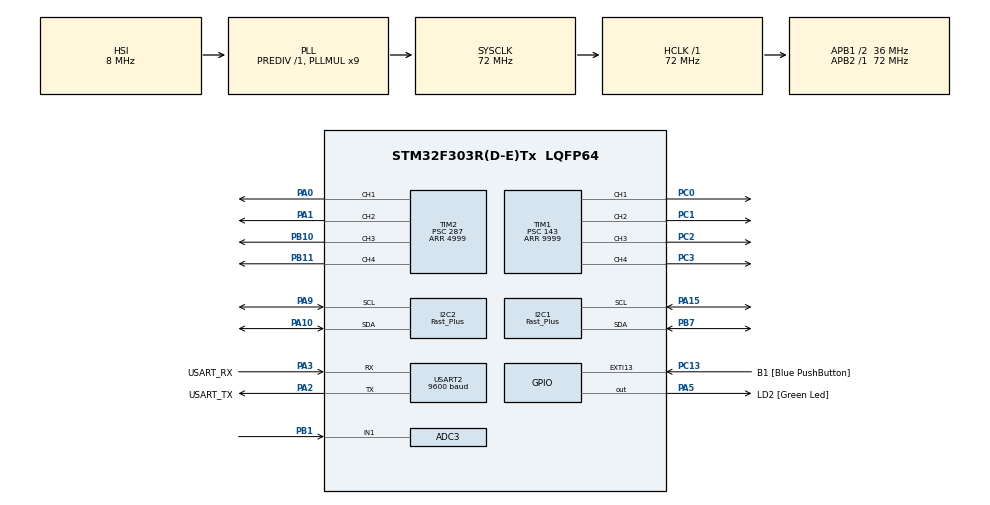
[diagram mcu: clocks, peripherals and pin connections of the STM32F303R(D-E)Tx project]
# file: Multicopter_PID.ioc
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ADC3.Channel-0\#ChannelRegularConversion=ADC_CHANNEL_1
ADC3.ContinuousConvMode=ENABLE
ADC3.NbrOfConversionFlag=1
ADC3.Offset-0\#ChannelRegularConversion=0
ADC3.OffsetNumber-0\#ChannelRegularConversion=ADC_OFFSET_NONE
ADC3.Rank-0\#ChannelRegularConversion=1
ADC3.SamplingTime-0\#ChannelRegularConversion=ADC_SAMPLETIME_1CYCLE_5
ADC3.SamplingTimeOPAMP-0\#ChannelRegularConversion=ADC_SAMPLETIME_61CYCLES_5
ADC3.master=1
I2C1.I2C_Speed_Mode=I2C_Fast_Plus
I2C1.Timing=0x00000001
I2C2.I2C_Speed_Mode=I2C_Fast_Plus
I2C2.Timing=0x00000001
Mcu.Family=STM32F3
Mcu.Name=STM32F303R(D-E)Tx
Mcu.Package=LQFP64
NVIC.PriorityGroup=NVIC_PRIORITYGROUP_0
PA0.Signal=S_TIM2_CH1_ETR
PA1.Signal=S_TIM2_CH2
PA10.Mode=I2C
PA10.Signal=I2C2_SDA
PA13.GPIO_Label=TMS
PA13.Mode=Serial_Wire
PA13.Signal=SYS_JTMS-SWDIO
PA14.GPIO_Label=TCK
PA14.Mode=Serial_Wire
PA14.Signal=SYS_JTCK-SWCLK
PA15.Mode=I2C
PA15.Signal=I2C1_SCL
PA2.GPIO_Label=USART_TX
PA2.GPIO_Mode=GPIO_MODE_AF_PP
PA2.GPIO_PuPd=GPIO_NOPULL
PA2.GPIO_Speed=GPIO_SPEED_FREQ_LOW
PA2.Mode=Asynchronous
PA2.Signal=USART2_TX
PA3.GPIO_Label=USART_RX
PA3.GPIO_Mode=GPIO_MODE_AF_PP
PA3.GPIO_PuPd=GPIO_NOPULL
PA3.GPIO_Speed=GPIO_SPEED_FREQ_LOW
PA3.Mode=Asynchronous
PA3.Signal=USART2_RX
PA5.GPIO_Label=LD2 [Green Led]
PA5.GPIO_Mode=GPIO_MODE_OUTPUT_PP
PA5.GPIO_PuPd=GPIO_NOPULL
PA5.GPIO_Speed=GPIO_SPEED_FREQ_LOW
PA5.Signal=GPIO_Output
PA9.Mode=I2C
PA9.Signal=I2C2_SCL
PB1.Mode=IN1-Single-Ended
PB1.Signal=ADC3_IN1
PB10.Signal=S_TIM2_CH3
PB11.Signal=S_TIM2_CH4
PB3.GPIO_Label=SWO
PB3.Signal=SYS_JTDO-TRACESWO
PB7.Mode=I2C
PB7.Signal=I2C1_SDA
PC0.Signal=S_TIM1_CH1
PC1.Signal=S_TIM1_CH2
PC13.GPIO_Label=B1 [Blue PushButton]
PC13.GPIO_ModeDefaultEXTI=GPIO_MODE_IT_FALLING
PC13.Signal=GPXTI13
PC14-OSC32_IN.Mode=LSE-External-Oscillator
PC14-OSC32_IN.Signal=RCC_OSC32_IN
PC15-OSC32_OUT.Mode=LSE-External-Oscillator
PC15-OSC32_OUT.Signal=RCC_OSC32_OUT
PC2.Signal=S_TIM1_CH3
PC3.Signal=S_TIM1_CH4
PF0-OSC_IN.Mode=HSE-External-Clock-Source
PF0-OSC_IN.Signal=RCC_OSC_IN
PF1-OSC_OUT.Signal=RCC_OSC_OUT
ProjectManager.HeapSize=0x200
ProjectManager.StackSize=0x400
ProjectManager.TargetToolchain=STM32CubeIDE
RCC.AHBFreq_Value=72000000
RCC.APB1CLKDivider=RCC_HCLK_DIV2
RCC.APB1Freq_Value=36000000
RCC.APB1TimFreq_Value=72000000
RCC.APB2Freq_Value=72000000
RCC.APB2TimFreq_Value=72000000
RCC.CortexFreq_Value=72000000
RCC.HCLKFreq_Value=72000000
RCC.HSE_VALUE=8000000
RCC.HSI_VALUE=8000000
RCC.PLLM=8
RCC.PLLMUL=RCC_PLL_MUL9
RCC.PLLN=336
RCC.PLLP=RCC_PLLP_DIV4
RCC.PLLQ=7
RCC.RCC_PLLsource_Clock_Source_FROM_HSE=RCC_HSE_PREDIV_DIV2
RCC.SYSCLKFreq_VALUE=72000000
RCC.SYSCLKSourceVirtual=RCC_SYSCLKSOURCE_PLLCLK
RCC.USBFreq_Value=72000000
SH.S_TIM1_CH1.0=TIM1_CH1,PWM Generation1 CH1
SH.S_TIM1_CH2.0=TIM1_CH2,PWM Generation2 CH2
SH.S_TIM1_CH3.0=TIM1_CH3,PWM Generation3 CH3
SH.S_TIM1_CH4.0=TIM1_CH4,PWM Generation4 CH4
SH.S_TIM2_CH1_ETR.0=TIM2_CH1,PWM Generation1 CH1
SH.S_TIM2_CH2.0=TIM2_CH2,PWM Generation2 CH2
SH.S_TIM2_CH3.0=TIM2_CH3,PWM Generation3 CH3
SH.S_TIM2_CH4.0=TIM2_CH4,PWM Generation4 CH4
TIM1.Channel-PWM\ Generation1\ CH1=TIM_CHANNEL_1
TIM1.Channel-PWM\ Generation2\ CH2=TIM_CHANNEL_2
TIM1.Channel-PWM\ Generation3\ CH3=TIM_CHANNEL_3
TIM1.Channel-PWM\ Generation4\ CH4=TIM_CHANNEL_4
TIM1.Period=9999
TIM1.Prescaler=143
TIM2.Channel-PWM\ Generation1\ CH1=TIM_CHANNEL_1
TIM2.Channel-PWM\ Generation2\ CH2=TIM_CHANNEL_2
TIM2.Channel-PWM\ Generation3\ CH3=TIM_CHANNEL_3
TIM2.Channel-PWM\ Generation4\ CH4=TIM_CHANNEL_4
TIM2.Period=4999
TIM2.Prescaler=287
USART2.BaudRate=9600
USART2.VirtualMode-Asynchronous=VM_ASYNC
VP_TIM1_VS_ClockSourceINT.Mode=Internal
VP_TIM2_VS_ClockSourceINT.Mode=Internal
board=NUCLEO-F303RE

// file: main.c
/* USER CODE BEGIN Header */
/**
  ******************************************************************************
  * @file           : main.c
  * @brief          : Main program body
  ******************************************************************************
  * @attention
  *
  * Copyright (c) 2023 STMicroelectronics.
  * All rights reserved.
  *
  * This software is licensed under terms that can be found in the LICENSE file
  * in the root directory of this software component.
  * If no LICENSE file comes with this software, it is provided AS-IS.
  *
  ******************************************************************************
  */
/* USER CODE END Header */
#include "main.h"
#include "adc.h"
#include "i2c.h"
#include "tim.h"
#include "usart.h"
#include "gpio.h"

/* USER CODE BEGIN Includes */
#include "mpu6050.h"
#include <stdio.h>
#include <string.h>
#include "pid.h"
/* USER CODE END Includes */

/* USER CODE BEGIN PTD */

int8_t data = 0 ;
char datatext[32] ="";
char datatext1[32] ="";
char datatext2[32] ="";

PID_TypeDef TPIDPitch;
PID_TypeDef TPIDRoll;
PID_TypeDef TPIDYaw;

long map(long x, long in_min, long in_max, long out_min, long out_max)
{
  return (x - in_min) * (out_max - out_min) / (in_max - in_min) + out_min;
}

/* USER CODE END PTD */

/* USER CODE BEGIN PV */
MPU6050_t MPU6050;
MPU6050_t MPU6050_2;
/* USER CODE END PV */

void SystemClock_Config(void);

/* USER CODE BEGIN 0 */

double yawbefore, yawafter, fark;

double throttle = 280;

double anglePitch, PIDOutPitch, angleSetpointPitch;
double angleRoll, PIDOutRoll, angleSetpointRoll;
double angleYaw, PIDOutYaw, angleSetpointYaw;
double test1, test2, test3;

double motorBackRight,motorBackLeft,motorFrontRight,motorFrontLeft;
double M_B_R, M_B_L, M_F_R, M_F_L;
/* USER CODE END 0 */

int main(void)
{

  /* MCU Configuration--------------------------------------------------------*/

  /* Reset of all peripherals, Initializes the Flash interface and the Systick. */
  HAL_Init();

  /* Configure the system clock */
  SystemClock_Config();

  /* Initialize all configured peripherals */
  MX_GPIO_Init();
  MX_USART2_UART_Init();
  MX_I2C1_Init();
  MX_TIM1_Init();
  MX_ADC3_Init();
  MX_TIM2_Init();
  MX_I2C2_Init();
  /* USER CODE BEGIN 2 */

  while ( MPU6050_Init(&hi2c1)== 1);

  HAL_TIM_PWM_Start(&htim1, TIM_CHANNEL_1);
  HAL_TIM_PWM_Start(&htim1, TIM_CHANNEL_2);
  HAL_TIM_PWM_Start(&htim1, TIM_CHANNEL_3);
  HAL_TIM_PWM_Start(&htim1, TIM_CHANNEL_4);

  angleSetpointPitch = 0;
  angleSetpointRoll = 0;
  angleSetpointYaw = 0;

  // PID PİTCH
  PID(&TPIDPitch,&anglePitch,&PIDOutPitch,&angleSetpointPitch,10,0.7,5,_PID_P_ON_E,_PID_CD_DIRECT);

  PID_SetMode(&TPIDPitch, _PID_MODE_AUTOMATIC);
  PID_SetSampleTime(&TPIDPitch, 10);
  PID_SetOutputLimits(&TPIDPitch, 0, 100);

  // PID ROLL
  PID(&TPIDRoll,&angleRoll,&PIDOutRoll,&angleSetpointRoll,5,0.0001,30,_PID_P_ON_E,_PID_CD_DIRECT);

  PID_SetMode(&TPIDRoll, _PID_MODE_AUTOMATIC);
  PID_SetSampleTime(&TPIDRoll, 10);
  PID_SetOutputLimits(&TPIDRoll, 0, 20);

  // PID YAW
  PID(&TPIDYaw,&angleYaw,&PIDOutYaw,&angleSetpointYaw,1,0,0,_PID_P_ON_E,_PID_CD_DIRECT);

  PID_SetMode(&TPIDRoll, _PID_MODE_AUTOMATIC);
  PID_SetSampleTime(&TPIDRoll, 50);
  PID_SetOutputLimits(&TPIDRoll, 0, 0);

  __HAL_TIM_SET_COMPARE(&htim1,TIM_CHANNEL_1,500);
  __HAL_TIM_SET_COMPARE(&htim1,TIM_CHANNEL_2,500);
  __HAL_TIM_SET_COMPARE(&htim1,TIM_CHANNEL_3,500);
  __HAL_TIM_SET_COMPARE(&htim1,TIM_CHANNEL_4,500);
  HAL_Delay(5000);

  /* USER CODE END 2 */

  /* Infinite loop */
  while (1)
  {

    /* USER CODE BEGIN 3 */

	  //HAL_ADC_Start(&hadc3);
	  //HAL_ADC_PollForConversion(&hadc3, 100);
	  //potvalue = HAL_ADC_GetValue(&hadc3);
	  //HAL_ADC_Stop(&hadc3);

	  MPU6050_Read_All(&hi2c1, &MPU6050);
	  //MPU6050_Read_All(&hi2c2, &MPU6050_2);

	  anglePitch = MPU6050.KalmanAngleX;
	  angleRoll= MPU6050.KalmanAngleY;
	  angleYaw = MPU6050.KalmanAngleZ;
	  yawafter = MPU6050.Gz;

	  //test1 = MPU6050.KalmanAngleX;
	  //test2 = anglePitch - test1;

	  //if(fark<1 && fark){angleYaw = yawbefore;}

	  PID_Compute(&TPIDPitch);
	  PID_Compute(&TPIDRoll);
	  PID_Compute(&TPIDYaw);

	  motorBackRight = throttle - PIDOutPitch - PIDOutRoll - PIDOutYaw; //// (+ pıdoutmax +pıdoutmin+pıdout1max)1 -yaw 220-280  260-300
	  motorBackLeft = throttle - PIDOutPitch + PIDOutRoll + PIDOutYaw;   //// (+pıdoutmax+pıdoutmin)2 +yaw 250-310  260-300
	  motorFrontRight = throttle + PIDOutPitch - PIDOutRoll + PIDOutYaw; //// (+pıdout1max)3 +yaw 250-310 260-300
	  motorFrontLeft = throttle + PIDOutPitch + PIDOutRoll - PIDOutYaw;  ////  4 -yaw  280-340 260-300
/*
	  if (motorBackRight < 250){motorBackRight = 250};

	  if (motorBackRight > 400){motorBackRight = 400};

	  if (motorBackLeft < 250){motorBackLeft = 250};
	  if (motorBackLeft > 400){motorBackLeft = 400};

	  if (motorFrontLeft < 250){motorFrontLeft = 250};
	  if (motorFrontLeft > 400){motorFrontLeft = 400};

	  if (motorFrontRight < 250){motorFrontRight = 250};
	  if (motorFrontRight > 400){motorFrontRight = 400};
*/

	  M_B_R = map(motorBackRight, 160, 280, 550, 700);
	  M_B_L = map(motorBackLeft, 180, 300, 550, 700);
	  M_F_R = map(motorFrontRight, 260, 380, 550, 700);
	  M_F_L = map(motorFrontLeft, 280, 400, 550, 700);

	  __HAL_TIM_SET_COMPARE(&htim1,TIM_CHANNEL_1,M_B_R);
	  __HAL_TIM_SET_COMPARE(&htim1,TIM_CHANNEL_2,M_B_L);
	  __HAL_TIM_SET_COMPARE(&htim1,TIM_CHANNEL_3,M_F_R);
	  __HAL_TIM_SET_COMPARE(&htim1,TIM_CHANNEL_4,M_F_L);
	  HAL_Delay(10);

	  //int a = (int)angleYaw;

	  //int b = (int)angleYaw;

	  //int c = (int)motorBackRight;

	  //sprintf(datatext,"\f %d \n\r",c); //
	  //pwm1 = map((uint32_t)potvalue, 0, 4095, 250, 500);

	  //sprintf(datatext,"\f %d \n\r",potvalue);
	  //sprintf(datatext2,"\f %d \n\r",data);

	  //HAL_UART_Transmit(&huart2,(uint8_t*)datatext,strlen(datatext),10);
	  //HAL_UART_Transmit(&huart2,(uint8_t*)datatext1,strlen(datatext1),100);
	  //HAL_UART_Transmit(&huart2,(uint8_t*)datatext2,strlen(datatext2),100);

  }
  /* USER CODE END 3 */
}

void SystemClock_Config(void)
{
  RCC_OscInitTypeDef RCC_OscInitStruct = {0};
  RCC_ClkInitTypeDef RCC_ClkInitStruct = {0};
  RCC_PeriphCLKInitTypeDef PeriphClkInit = {0};

  /** Initializes the RCC Oscillators according to the specified parameters
  * in the RCC_OscInitTypeDef structure.
  */
  RCC_OscInitStruct.OscillatorType = RCC_OSCILLATORTYPE_HSI;
  RCC_OscInitStruct.HSIState = RCC_HSI_ON;
  RCC_OscInitStruct.HSICalibrationValue = RCC_HSICALIBRATION_DEFAULT;
  RCC_OscInitStruct.PLL.PLLState = RCC_PLL_ON;
  RCC_OscInitStruct.PLL.PLLSource = RCC_PLLSOURCE_HSI;
  RCC_OscInitStruct.PLL.PLLMUL = RCC_PLL_MUL9;
  RCC_OscInitStruct.PLL.PREDIV = RCC_PREDIV_DIV1;
  if (HAL_RCC_OscConfig(&RCC_OscInitStruct) != HAL_OK)
  {
    Error_Handler();
  }

  /** Initializes the CPU, AHB and APB buses clocks
  */
  RCC_ClkInitStruct.ClockType = RCC_CLOCKTYPE_HCLK|RCC_CLOCKTYPE_SYSCLK
                              |RCC_CLOCKTYPE_PCLK1|RCC_CLOCKTYPE_PCLK2;
  RCC_ClkInitStruct.SYSCLKSource = RCC_SYSCLKSOURCE_PLLCLK;
  RCC_ClkInitStruct.AHBCLKDivider = RCC_SYSCLK_DIV1;
  RCC_ClkInitStruct.APB1CLKDivider = RCC_HCLK_DIV2;
  RCC_ClkInitStruct.APB2CLKDivider = RCC_HCLK_DIV1;

  if (HAL_RCC_ClockConfig(&RCC_ClkInitStruct, FLASH_LATENCY_2) != HAL_OK)
  {
    Error_Handler();
  }
  PeriphClkInit.PeriphClockSelection = RCC_PERIPHCLK_USART2|RCC_PERIPHCLK_I2C1
                              |RCC_PERIPHCLK_I2C2|RCC_PERIPHCLK_TIM1
                              |RCC_PERIPHCLK_ADC34|RCC_PERIPHCLK_TIM2;
  PeriphClkInit.Usart2ClockSelection = RCC_USART2CLKSOURCE_PCLK1;
  PeriphClkInit.Adc34ClockSelection = RCC_ADC34PLLCLK_DIV1;
  PeriphClkInit.I2c1ClockSelection = RCC_I2C1CLKSOURCE_HSI;
  PeriphClkInit.I2c2ClockSelection = RCC_I2C2CLKSOURCE_HSI;
  PeriphClkInit.Tim1ClockSelection = RCC_TIM1CLK_HCLK;
  PeriphClkInit.Tim2ClockSelection = RCC_TIM2CLK_HCLK;
  if (HAL_RCCEx_PeriphCLKConfig(&PeriphClkInit) != HAL_OK)
  {
    Error_Handler();
  }
}

void Error_Handler(void)
{
  __disable_irq();
  while (1)
  {
  }
}
